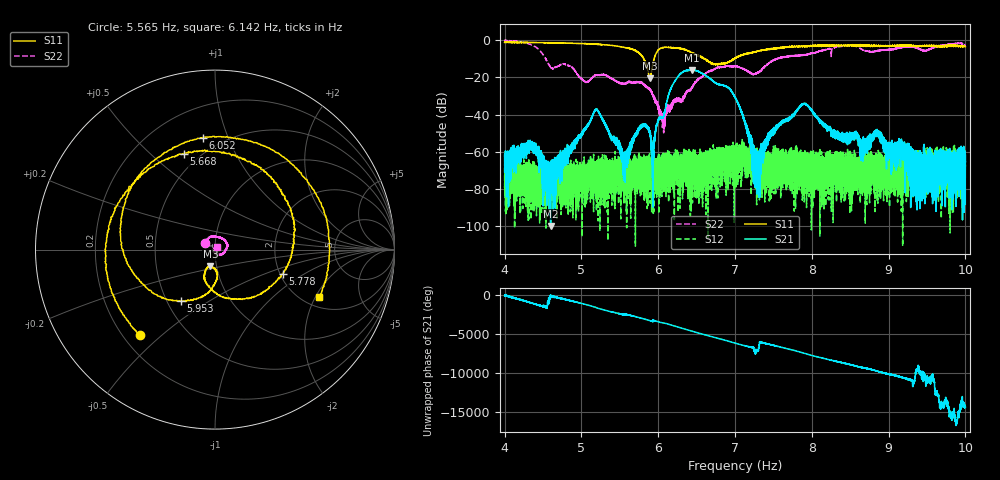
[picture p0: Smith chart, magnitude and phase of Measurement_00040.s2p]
!Created with skrf (http://scikit-rf.org).
# Hz S RI R 50.0
!freq ReS11 ImS11 ReS21 ImS21 ReS12 ImS12 ReS22 ImS22
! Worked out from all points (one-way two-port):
!   14001 points, 4 Hz to 10 Hz, reference 50 ohm
!   highest |S21| = -15.98 dB at 6.438 Hz (marker M1); lowest = -99.9 dB at 4.599 Hz (marker M2)
!   lowest |S11| = -20.4 dB at 5.891 Hz (marker M3), VSWR 1.21, Z = 46.8 - j8.68 ohm
!   |S11| at or under -10 dB: 5.812 Hz to 5.947 Hz (134.9 mHz wide, 2.29 % of centre); 6.597874 Hz to 6.599591 Hz (1.717 mHz wide, 0.026 % of centre); 6.6 Hz to 6.988 Hz (388.1 mHz wide, 5.71 % of centre) (the widest 3 of 4)
!   |S22| runs from -49.8 to -0.2 dB; largest |S21 - S12| = 0.16
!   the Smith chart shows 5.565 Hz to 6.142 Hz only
!   S11 on the Smith chart (normalised r, x): 5.565 Hz: 0.27, -0.43; 5.668 Hz: 0.41, +0.64; 5.778 Hz: 2.06, -0.67; 5.953 Hz: 0.59, -0.38; 6.052 Hz: 0.40, +0.82; 6.142 Hz: 2.42, -2.15
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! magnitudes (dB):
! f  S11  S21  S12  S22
! 4 Hz  -1.2  -61.7  -68.3  -0.2
! 4.357 Hz  -1.3  -55.9  -67.9  -2.7
! 4.599 Hz  -1.4  -99.9  -81.1  -14.5
! 5 Hz  -1.8  -51.2  -70.6  -20.8
! 5.204 Hz  -2.2  -37.6  -77.3  -18.8
! 5.565 Hz  -4.0  -73.9  -82.6  -23.4
! 5.668 Hz  -5.0  -55.0  -68.7  -23.1
! 5.778 Hz  -7.9  -46.5  -69.1  -22.7
! 5.891 Hz  -20.4  -48.8  -69.9  -26.6
! 5.953 Hz  -9.3  -52.4  -73.7  -31.7
! 6 Hz  -5.4  -43.3  -68.1  -35.0
! 6.052 Hz  -4.0  -41.7  -69.3  -42.2
! 6.142 Hz  -3.9  -28.5  -65.7  -34.9
! 6.438 Hz  -6.6  -16.0  -61.7  -25.6
! 7 Hz  -9.7  -30.6  -64.7  -14.0
! 7.289 Hz  -6.0  -63.5  -65.9  -17.6
! 7.564 Hz  -4.1  -45.8  -70.9  -9.7
! 8 Hz  -3.3  -37.4  -69.1  -6.9
! 8.281 Hz  -3.1  -50.1  -63.9  -4.1
! 9 Hz  -3.2  -60.6  -65.7  -5.1
! 9.385 Hz  -3.1  -67.8  -64.7  -4.5
! 10 Hz  -3.6  -65.2  -67.0  -3.1
